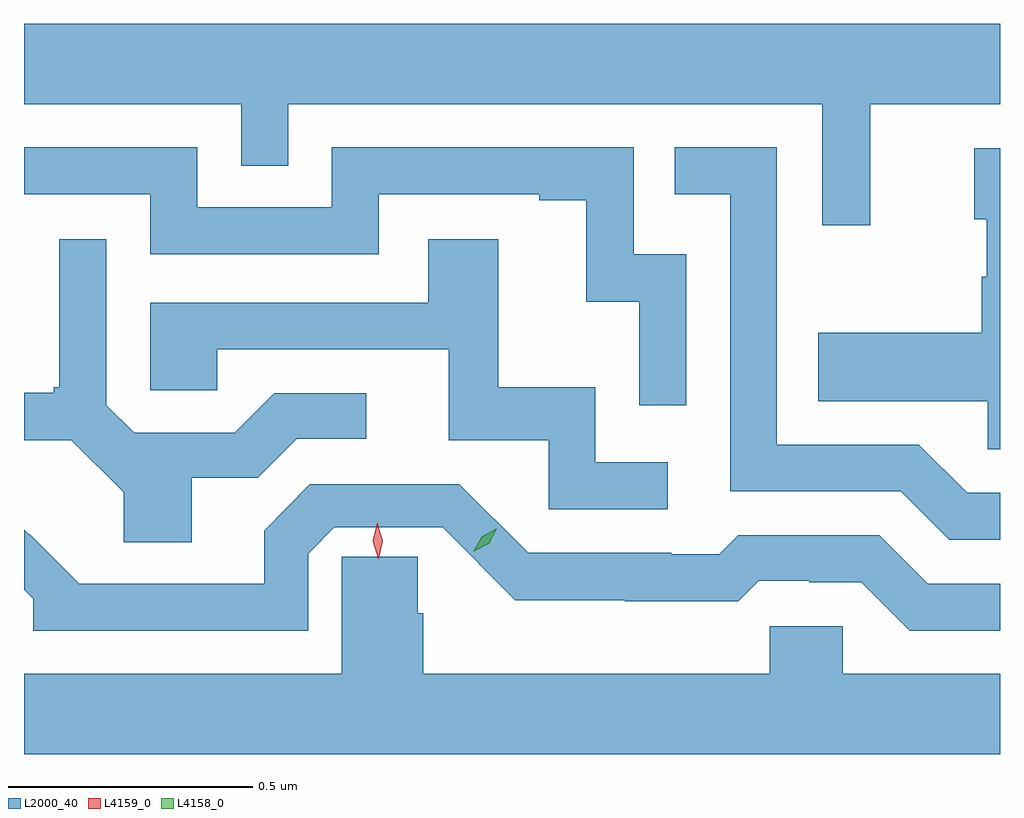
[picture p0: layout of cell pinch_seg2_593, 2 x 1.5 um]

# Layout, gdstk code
import gdstk
lib = gdstk.Library(unit=1e-6, precision=1e-09)
def P(c, l, *ps):  # polygons
    for p in ps: c.add(gdstk.Polygon(p, *l))
L2000_40 = (2000, 40)
L4158_0 = (4158, 0)
L4159_0 = (4159, 0)

pinch_seg2_593 = lib.new_cell('pinch_seg2_593')
P(pinch_seg2_593, L2000_40, [(1138.229,609.008),(1138.495,609.008),(1138.495,609.172),(1136.495,609.172),(1136.495,609.008),(1136.94,609.008),(1136.94,608.881),(1137.036,608.881),(1137.036,609.008),(1138.131,609.008),(1138.131,608.76),(1138.229,608.76)],
  [(1137.852,608.7),(1137.744,608.7),(1137.744,608.919),(1137.126,608.919),(1137.126,608.796),(1136.85,608.796),(1136.85,608.919),(1136.495,608.919),(1136.495,608.823),(1136.754,608.823),(1136.754,608.7),(1137.222,608.7),(1137.222,608.823),(1137.551,608.823),(1137.551,608.811),(1137.647,608.811),(1137.647,608.603),(1137.756,608.603),(1137.756,608.391),(1137.852,608.391)],
  [(1138.495,608.211),(1138.428,608.211),(1138.329,608.31),(1138.038,608.31),(1138.038,608.919),(1137.829,608.919),(1137.829,608.823),(1137.942,608.823),(1137.942,608.214),(1138.292,608.214),(1138.391,608.115),(1138.495,608.115)],
  [(1138.495,608.917),(1138.442,608.917),(1138.442,608.772),(1138.468,608.772),(1138.468,608.654),(1138.458,608.654),(1138.458,608.539),(1138.123,608.539),(1138.123,608.399),(1138.47,608.399),(1138.47,608.301),(1138.495,608.301)],
  [(1136.839,608.242),(1136.974,608.242),(1137.054,608.322),(1137.196,608.322),(1137.196,608.415),(1137.008,608.415),(1136.927,608.334),(1136.721,608.334),(1136.664,608.391),(1136.664,608.731),(1136.567,608.731),(1136.567,608.428),(1136.556,608.428),(1136.556,608.416),(1136.495,608.416),(1136.495,608.319),(1136.592,608.319),(1136.699,608.212),(1136.699,608.11),(1136.839,608.11)],
  [(1137.814,608.274),(1137.666,608.274),(1137.666,608.428),(1137.467,608.428),(1137.467,608.731),(1137.323,608.731),(1137.323,608.601),(1136.754,608.601),(1136.754,608.421),(1136.891,608.421),(1136.891,608.505),(1137.365,608.505),(1137.365,608.319),(1137.57,608.319),(1137.57,608.178),(1137.814,608.178)],
  [(1137.077,608.086),(1137.131,608.141),(1137.353,608.141),(1137.502,607.991),(1137.726,607.991),(1137.726,607.989),(1137.959,607.989),(1138.001,608.031),(1138.104,608.031),(1138.104,608.028),(1138.211,608.028),(1138.31,607.929),(1138.495,607.929),(1138.495,608.025),(1138.347,608.025),(1138.248,608.124),(1137.959,608.124),(1137.92,608.085),(1137.821,608.085),(1137.821,608.088),(1137.528,608.088),(1137.387,608.229),(1137.081,608.229),(1136.987,608.134),(1136.987,608.025),(1136.608,608.025),(1136.507,608.126),(1136.506,608.125),(1136.495,608.136),(1136.495,608.013),(1136.514,607.994),(1136.514,607.929),(1137.077,607.929)],
  [(1138.495,607.84),(1138.173,607.84),(1138.173,607.938),(1138.023,607.938),(1138.023,607.84),(1137.313,607.84),(1137.313,607.964),(1137.302,607.964),(1137.302,608.08),(1137.146,608.08),(1137.146,607.84),(1136.495,607.84),(1136.495,607.676),(1138.495,607.676)])
P(pinch_seg2_593, L4158_0, [(1137.416,608.091),(1137.416,608.091),(1137.433,608.121),(1137.463,608.138),(1137.464,608.138),(1137.464,608.138),(1137.447,608.107),(1137.416,608.091)])
P(pinch_seg2_593, L4159_0, [(1137.221,608.076),(1137.221,608.076),(1137.21,608.113),(1137.219,608.15),(1137.219,608.15),(1137.219,608.15),(1137.23,608.113),(1137.222,608.076)])

lib.write_gds('pinch_seg2_593.gds')
